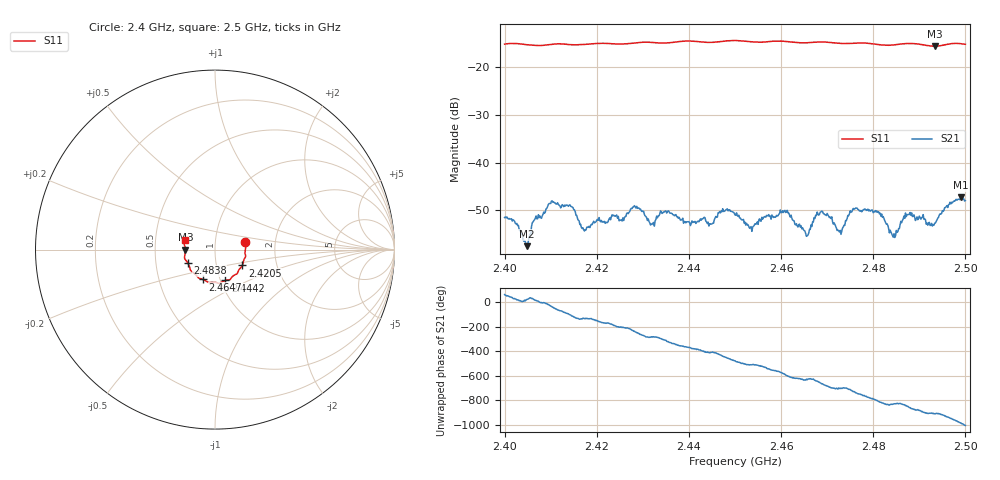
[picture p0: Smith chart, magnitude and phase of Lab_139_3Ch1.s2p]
# Hz S RI R 50
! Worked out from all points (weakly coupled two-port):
!   601 points, 2.4 GHz to 2.5 GHz, reference 50 ohm
!   highest |S21| = -47.26 dB at 2.499 GHz (marker M1); lowest = -57.5 dB at 2.4048 GHz (marker M2)
!   lowest |S11| = -15.6 dB at 2.4933 GHz (marker M3), VSWR 1.40, Z = 35.8 - j0.0261 ohm
!   |S11| at or under -10 dB: start of sweep to end of sweep
!   S12 and S22 are empty: the file has one direction only
!   S11 on the Smith chart (normalised r, x): 2.4 GHz: 1.40, +0.11; 2.4205 GHz: 1.34, -0.24; 2.4442 GHz: 1.05, -0.37; 2.4647 GHz: 0.83, -0.29; 2.4838 GHz: 0.73, -0.11; 2.5 GHz: 0.71, +0.08
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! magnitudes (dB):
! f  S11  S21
! 2.4 GHz  -15.2  -51.5
! 2.4048 GHz  -15.3  -57.5
! 2.4102 GHz  -15.2  -48.0
! 2.4145 GHz  -15.3  -49.2
! 2.4167 GHz  -15.3  -53.6
! 2.4205 GHz  -15.1  -51.5
! 2.4333 GHz  -15.0  -51.1
! 2.4442 GHz  -14.8  -52.4
! 2.45 GHz  -14.4  -50.9
! 2.4535 GHz  -14.7  -53.4
! 2.4608 GHz  -14.6  -50.0
! 2.4647 GHz  -14.9  -53.6
! 2.4667 GHz  -14.8  -53.4
! 2.469 GHz  -14.7  -50.2
! 2.4727 GHz  -15.1  -54.5
! 2.4762 GHz  -15.0  -49.5
! 2.4833 GHz  -15.5  -53.8
! 2.4838 GHz  -15.4  -54.5
! 2.4875 GHz  -15.1  -50.9
! 2.4933 GHz  -15.6  -52.7
! 2.499 GHz  -15.1  -47.3
! 2.5 GHz  -15.2  -47.9
